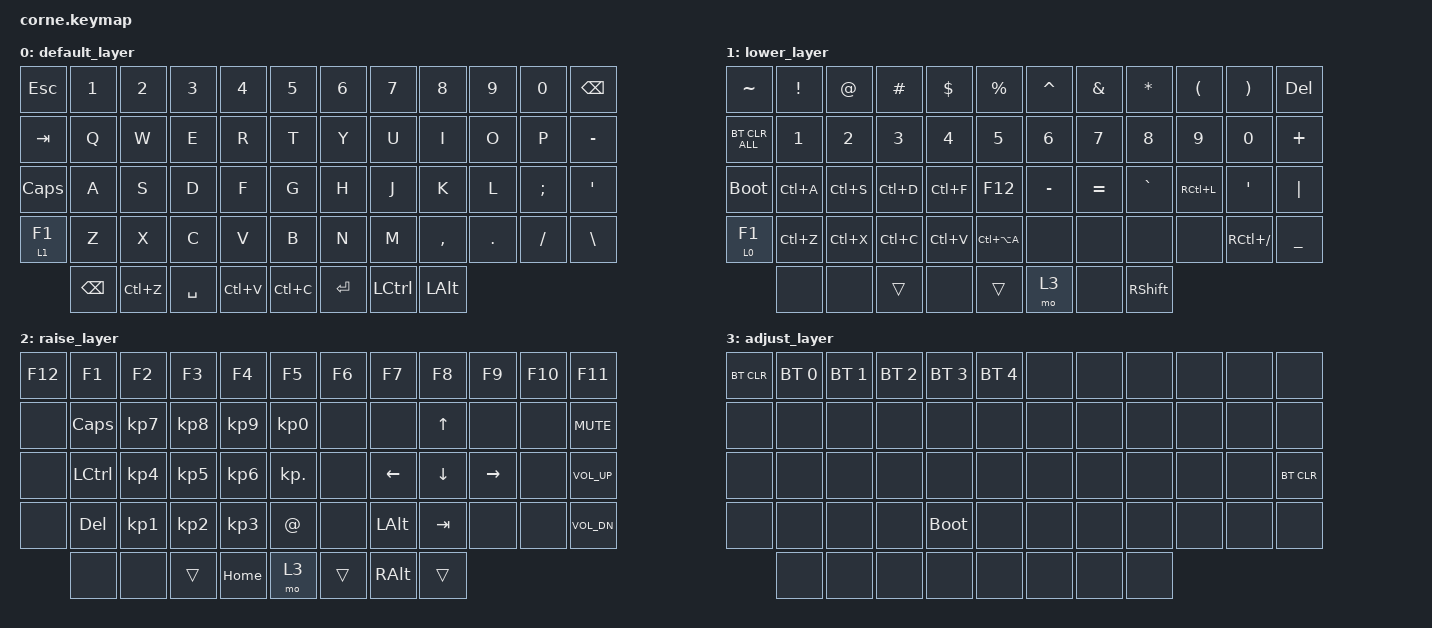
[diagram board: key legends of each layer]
/*
 * Copyright (c) 2020 The ZMK Contributors
 *
 * SPDX-License-Identifier: MIT
 */

#include <behaviors.dtsi>
#include <dt-bindings/zmk/bt.h>
#include <dt-bindings/zmk/keys.h>
#include <dt-bindings/zmk/outputs.h>
#include <dt-bindings/zmk/rgb.h>

&mt {
    tapping-term-ms = <200>;
    flavor = "tap-preferred";
};

/ {
    combos {
        compatible = "zmk,combos";

        combo_grave {
            bindings = <&kp GRAVE>;
            key-positions = <15 16>;
            layers = <0>;
        };
    };

    behaviors {
        td0: td0 {
            compatible = "zmk,behavior-tap-dance";
            label = "TD0";
            #binding-cells = <0>;
            bindings = <&kp LEFT_SHIFT>, <&kp CAPSLOCK>;
        };

        mth: mth {
            compatible = "zmk,behavior-hold-tap";
            label = "MTH";
            bindings = <&kp>, <&kp>;

            #binding-cells = <2>;
            tapping-term-ms = <200>;
            flavor = "hold-preferred";
        };

        td1: td1 {
            compatible = "zmk,behavior-tap-dance";
            label = "TD1";
            #binding-cells = <0>;
            bindings = <&lt 3 ENTER>, <&to 3>;
        };
    };

    keymap {
        compatible = "zmk,keymap";

        default_layer {
            bindings = <
&kp ESC       &kp N1          &kp N2       &kp N3     &kp N4     &kp N5           &kp N6     &kp N7        &kp N8     &kp N9   &kp N0    &kp BSPC
&kp TAB       &kp Q           &kp W        &kp E      &kp R      &kp T            &kp Y      &kp U         &kp I      &kp O    &kp P     &kp MINUS
&kp CAPSLOCK  &kp A           &kp S        &kp D      &kp F      &kp G            &kp H      &kp J         &kp K      &kp L    &kp SEMI  &kp SQT
&lt 1 F1      &kp Z           &kp X        &kp C      &kp V      &kp B            &kp N      &kp M         &kp COMMA  &kp DOT  &kp FSLH  &kp BSLH
              &kp BACKSPACE   &kp LC(Z)    &kp SPACE  &kp LC(V)  &kp LC(C)        &kp ENTER  &kp LCTRL     &kp LEFT_ALT
            >;
        };

        lower_layer {
            bindings = <
&kp TILDE       &kp EXCL      &kp AT        &kp HASH      &kp DLLR      &kp PRCNT        &kp CARET     &kp AMPS      &kp ASTRK        &kp LPAR      &kp RPAR       &kp DEL
&bt BT_CLR_ALL  &kp NUMBER_1  &kp NUMBER_2  &kp NUMBER_3  &kp NUMBER_4  &kp NUMBER_5     &kp NUMBER_6  &kp NUMBER_7  &kp NUMBER_8     &kp NUMBER_9  &kp NUMBER_0   &kp PLUS
&bootloader     &kp LC(A)     &kp LC(S)     &kp LC(D)     &kp LC(F)     &kp F12          &kp MINUS     &kp EQUAL     &kp GRAVE        &kp RC(L)     &kp SQT        &kp PIPE
&lt 0 F1        &kp LC(Z)     &kp LC(X)     &kp LC(C)     &kp LC(V)     &kp LC(LA(A))    &none         &none         &none            &none         &kp RC(SLASH)  &kp UNDER
                &none         &none         &trans        &none         &trans           &mo 3         &none         &kp RIGHT_SHIFT
            >;
        };

        raise_layer {
            bindings = <
&kp F12  &kp F1     &kp F2           &kp F3           &kp F4           &kp F5             &kp F6     &kp F7        &kp F8    &kp F9     &kp F10  &kp F11
&none    &kp CAPS   &kp KP_NUMBER_7  &kp KP_NUMBER_8  &kp KP_NUMBER_9  &kp KP_NUMBER_0    &none      &none         &kp UP    &none      &none    &kp C_MUTE
&none    &kp LCTRL  &kp KP_NUMBER_4  &kp KP_NUMBER_5  &kp KP_NUMBER_6  &kp KP_DOT         &none      &kp LEFT      &kp DOWN  &kp RIGHT  &none    &kp C_VOL_UP
&none    &kp DEL    &kp KP_NUMBER_1  &kp KP_NUMBER_2  &kp KP_NUMBER_3  &kp AT_SIGN        &none      &kp LEFT_ALT  &kp TAB   &none      &none    &kp C_VOL_DN
         &none      &none            &trans           &kp HOME         &mo 3              &trans     &kp RALT      &trans
            >;
        };

        adjust_layer {
            bindings = <
&bt BT_CLR  &bt BT_SEL 0  &bt BT_SEL 1  &bt BT_SEL 2  &bt BT_SEL 3  &bt BT_SEL 4    &none  &none  &none  &none  &none  &none
&none       &none         &none         &none         &none         &none           &none  &none  &none  &none  &none  &none
&none       &none         &none         &none         &none         &none           &none  &none  &none  &none  &none  &bt BT_CLR
&none       &none         &none         &none         &bootloader   &none           &none  &none  &none  &none  &none  &none
            &none         &none         &none         &none         &none           &none  &none  &none
            >;
        };
    };
};
